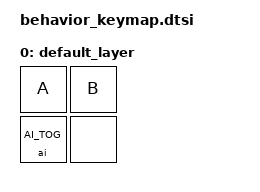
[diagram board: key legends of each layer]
#include <dt-bindings/zmk/keys.h>
#include <dt-bindings/zmk/kscan_mock.h>
#include <behaviors.dtsi>
#include <behaviors/anti_idle.dtsi>
#include <dt-bindings/anti_idle.h>

/ {
    anti_idle: anti_idle {
        compatible = "zmk,anti-idle-generic";
        interval-ms = <200>;
        bindings = <&kp F24>;
        tap_ms = <10>;
        wait_ms = <10>;
    };

    keymap {
        compatible = "zmk,keymap";
        default_layer {
            bindings = <
                &kp A &kp B
                &ai AI_TOG &none
            >;
        };
    };
};
